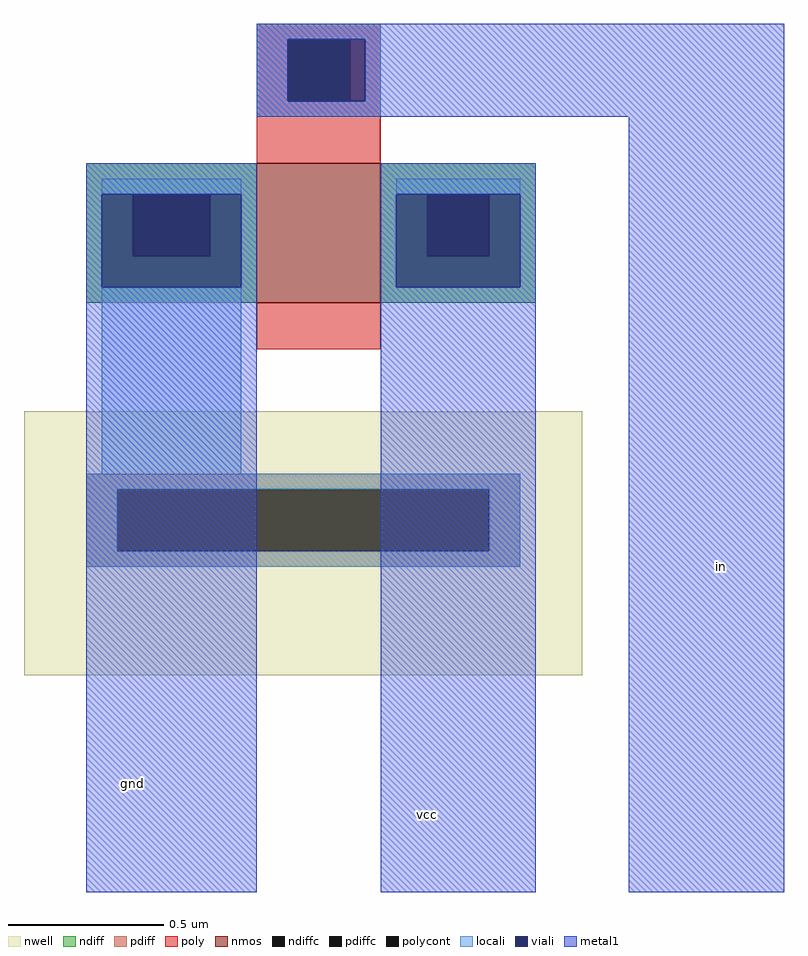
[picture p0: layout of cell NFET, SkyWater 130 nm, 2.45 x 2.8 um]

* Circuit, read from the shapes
.subckt NFET gnd in vcc
XM1 vcc in gnd VSUBS sky130_fd_pr__nfet_01v8 w=0.45 l=0.4
.ends

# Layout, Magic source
magic
tech sky130A
<< nwell >>
rect -85 -230 95 -145
<< nmos >>
rect -10 -110 30 -65
<< ndiff >>
rect -65 -75 -10 -65
rect -65 -95 -50 -75
rect -25 -95 -10 -75
rect -65 -110 -10 -95
rect 30 -75 80 -65
rect 30 -95 45 -75
rect 65 -95 80 -75
rect 30 -110 80 -95
<< pdiff >>
rect -65 -170 75 -165
rect -65 -190 -55 -170
rect 65 -190 75 -170
rect -65 -195 75 -190
<< ndiffc >>
rect -50 -95 -25 -75
rect 45 -95 65 -75
<< pdiffc >>
rect -55 -190 65 -170
<< poly >>
rect -10 -25 30 -20
rect -10 -45 0 -25
rect 20 -45 30 -25
rect -10 -65 30 -45
rect -10 -125 30 -110
<< polycont >>
rect 0 -45 20 -25
<< locali >>
rect -10 -25 30 -20
rect -10 -45 0 -25
rect 25 -45 30 -25
rect -10 -50 30 -45
rect -60 -75 -15 -70
rect 35 -75 75 -70
rect -60 -165 -15 -105
rect -65 -170 75 -165
rect -65 -190 -55 -170
rect 65 -190 75 -170
rect -65 -195 75 -190
<< viali >>
rect 0 -45 20 -25
rect 20 -45 25 -25
rect -60 -95 -50 -75
rect -50 -95 -25 -75
rect -25 -95 -15 -75
rect -60 -105 -15 -95
rect 35 -95 45 -75
rect 45 -95 65 -75
rect 65 -95 75 -75
rect 35 -105 75 -95
<< metal1 >>
rect -10 -25 160 -20
rect -10 -45 0 -25
rect 25 -45 160 -25
rect -10 -50 160 -45
rect -65 -75 -10 -65
rect -65 -105 -60 -75
rect -15 -105 -10 -75
rect -65 -300 -10 -105
rect 30 -75 80 -65
rect 30 -105 35 -75
rect 75 -105 80 -75
rect 30 -300 80 -105
rect 110 -300 160 -50
<< labels >>
rlabel metal1 -50 -265 -50 -265 1 gnd
rlabel metal1 45 -275 45 -275 1 vcc
rlabel metal1 140 -195 140 -195 1 in
<< end >>
